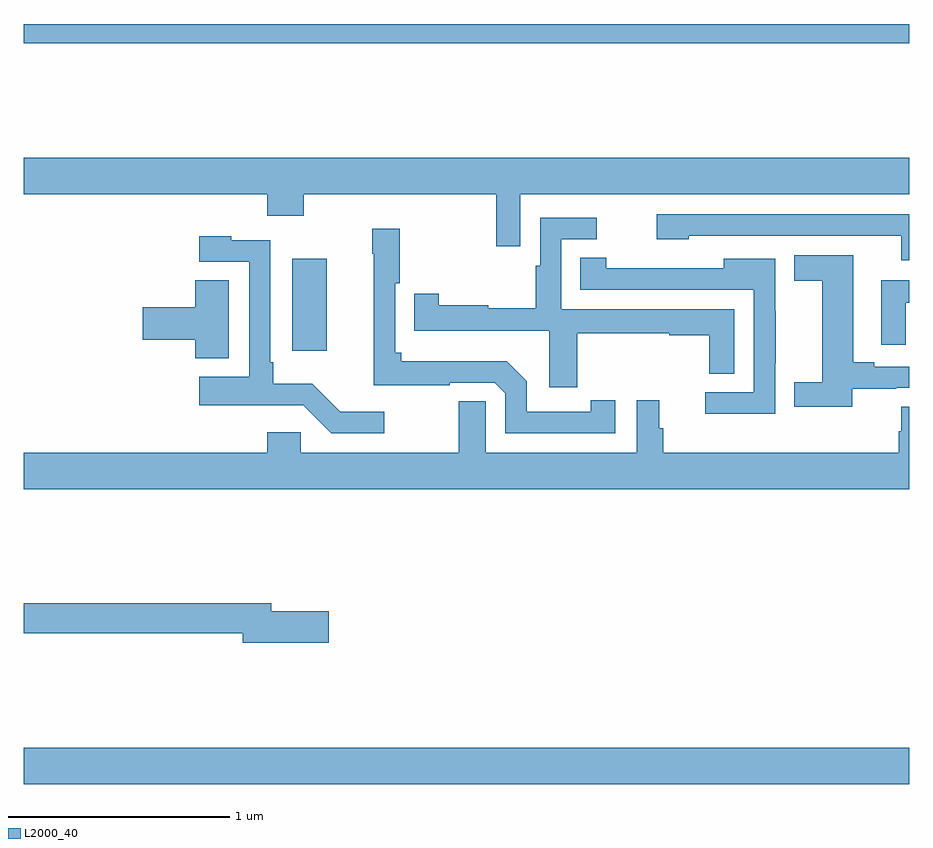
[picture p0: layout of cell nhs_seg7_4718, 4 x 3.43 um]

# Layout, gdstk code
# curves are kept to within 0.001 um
import gdstk
lib = gdstk.Library(unit=1e-6, precision=1e-09)
def R(c, l, rs):  # rectangles x0, y0, x1, y1
    for r in rs: c.add(gdstk.rectangle(r[:2], r[2:], *l))
def P(c, l, *ps):  # polygons
    for p in ps: c.add(gdstk.Polygon(p, *l))
L2000_40 = (2000, 40)

nhs_seg7_4718 = lib.new_cell('nhs_seg7_4718')
R(nhs_seg7_4718, L2000_40, [(407,1048.568,411,1048.732), (408.212,1050.525,408.37,1050.94), (407,1051.912,411,1052)])
P(nhs_seg7_4718, L2000_40, [(409.242,1051.232),(411,1051.232),(411,1051.396),(407,1051.396),(407,1051.232),(408.101,1051.232),(408.101,1051.133),(408.266,1051.133),(408.266,1051.232),(409.134,1051.232),(409.134,1050.996),(409.242,1050.996)],
  [(411,1051.14),(409.86,1051.14),(409.86,1051.028),(410.004,1051.028),(410.004,1051.044),(410.963,1051.044),(410.963,1050.933),(411,1050.933)],
  [(409.501,1050.603),(409.915,1050.603),(409.915,1050.595),(410.096,1050.595),(410.096,1050.421),(410.208,1050.421),(410.208,1050.711),(409.428,1050.711),(409.428,1051.029),(409.588,1051.029),(409.588,1051.125),(409.332,1051.125),(409.332,1050.908),(409.312,1050.908),(409.312,1050.716),(409.098,1050.716),(409.098,1050.731),(408.874,1050.731),(408.874,1050.781),(408.763,1050.781),(408.763,1050.614),(409.373,1050.614),(409.373,1050.36),(409.501,1050.36)],
  [(409.672,1050.301),(409.562,1050.301),(409.562,1050.249),(409.272,1050.249),(409.272,1050.387),(409.181,1050.478),(408.706,1050.478),(408.706,1050.516),(408.678,1050.516),(408.678,1050.83),(408.698,1050.83),(408.698,1051.075),(408.575,1051.075),(408.575,1050.962),(408.581,1050.962),(408.581,1050.369),(408.925,1050.369),(408.925,1050.381),(409.128,1050.381),(409.176,1050.333),(409.176,1050.153),(409.672,1050.153)],
  [(408.628,1050.25),(408.43,1050.25),(408.304,1050.376),(408.127,1050.376),(408.127,1050.472),(408.114,1050.472),(408.114,1051.023),(407.937,1051.023),(407.937,1051.042),(407.793,1051.042),(407.793,1050.927),(408.018,1050.927),(408.018,1050.406),(407.793,1050.406),(407.793,1050.278),(408.263,1050.279),(408.389,1050.153),(408.628,1050.153)],
  [(410.743,1050.352),(410.94,1050.352),(410.94,1050.357),(411,1050.357),(411,1050.453),(410.842,1050.453),(410.842,1050.473),(410.746,1050.473),(410.746,1050.955),(410.479,1050.955),(410.479,1050.841),(410.606,1050.841),(410.606,1050.383),(410.479,1050.383),(410.479,1050.272),(410.743,1050.272)],
  [(410.394,1050.469),(410.396,1050.469),(410.396,1050.704),(410.394,1050.704),(410.394,1050.94),(410.162,1050.94),(410.162,1050.898),(409.632,1050.898),(409.632,1050.944),(409.513,1050.944),(409.513,1050.801),(410.298,1050.801),(410.298,1050.336),(410.079,1050.336),(410.079,1050.239),(410.394,1050.239)],
  [(410.983,1050.742),(411,1050.742),(411,1050.843),(410.874,1050.843),(410.874,1050.552),(410.983,1050.552)],
  [(407.926,1050.842),(407.774,1050.842),(407.774,1050.722),(407.538,1050.722),(407.538,1050.575),(407.774,1050.575),(407.774,1050.491),(407.926,1050.491)],
  [(411,1050.272),(410.963,1050.272),(410.963,1050.162),(410.951,1050.162),(410.951,1050.064),(409.888,1050.064),(409.888,1050.174),(409.87,1050.174),(409.87,1050.301),(409.769,1050.301),(409.769,1050.064),(409.086,1050.064),(409.086,1050.296),(408.964,1050.296),(408.964,1050.064),(408.252,1050.064),(408.252,1050.157),(408.101,1050.157),(408.101,1050.064),(407,1050.064),(407,1049.9),(411,1049.9)],
  [(408.379,1049.348),(408.118,1049.348),(408.118,1049.384),(407,1049.384),(407,1049.248),(407.99,1049.248),(407.99,1049.206),(408.379,1049.206)])

lib.write_gds('nhs_seg7_4718.gds')
